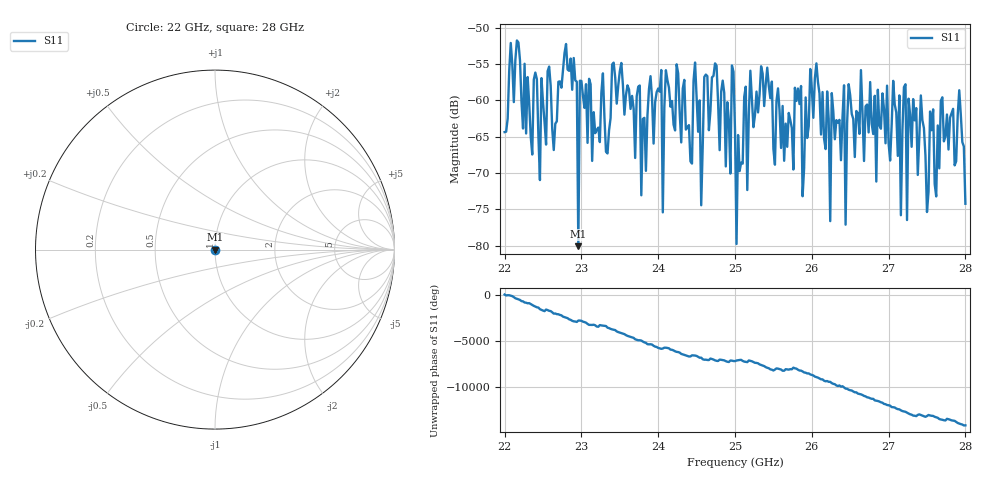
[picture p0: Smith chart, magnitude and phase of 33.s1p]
#  HZ  S  RI  R  50.00
! Rohde & Schwarz ZVA40 4Ports - Version 3.90 - 1145.1110k42 SN: 100403
! Date: 2023-10-04 06:54:15
! Measurement: S12
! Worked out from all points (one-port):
!   301 points, 22 GHz to 28 GHz, reference 50 ohm
!   lowest |S11| = -80.1 dB at 22.96 GHz (marker M1), VSWR 1.00, Z = 50 + j0.00993 ohm
!   |S11| at or under -10 dB: start of sweep to end of sweep
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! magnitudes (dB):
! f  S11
! 22 GHz  -64.4
! 22.76 GHz  -55.8
! 22.94 GHz  -57.4
! 22.96 GHz  -80.1
! 22.98 GHz  -57.3
! 23.5 GHz  -56.0
! 23.78 GHz  -73.0
! 24.04 GHz  -55.8
! 24.06 GHz  -75.4
! 24.1 GHz  -55.8
! 24.26 GHz  -56.3
! 24.56 GHz  -74.4
! 25 GHz  -64.1
! 25.02 GHz  -79.8
! 25.2 GHz  -55.9
! 25.76 GHz  -69.5
! 26.06 GHz  -54.9
! 26.24 GHz  -76.6
! 26.26 GHz  -59.0
! 26.42 GHz  -57.9
! 26.44 GHz  -77.1
! 26.5 GHz  -59.3
! 27.14 GHz  -59.3
! 27.16 GHz  -75.8
! 27.22 GHz  -57.8
! 27.24 GHz  -76.5
! 27.26 GHz  -59.7
! 28 GHz  -74.2
